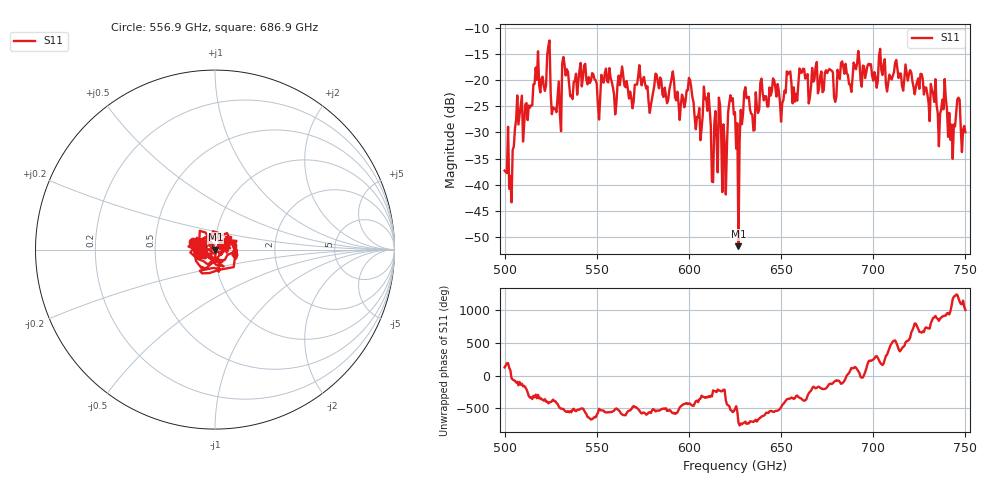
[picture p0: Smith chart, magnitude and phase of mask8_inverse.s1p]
!Created with skrf (http://scikit-rf.org).
# GHz S MA R 50.0
!freq magS11 angS11
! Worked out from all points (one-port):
!   401 points, 500 GHz to 750 GHz, reference 50 ohm
!   lowest |S11| = -51.7 dB at 626.9 GHz (marker M1), VSWR 1.01, Z = 50.3 + j0.0302 ohm
!   |S11| at or under -10 dB: start of sweep to end of sweep
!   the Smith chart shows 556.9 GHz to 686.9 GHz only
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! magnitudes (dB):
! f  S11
! 500 GHz  -37.3
! 503.8 GHz  -43.4
! 508.1 GHz  -26.6
! 511.2 GHz  -24.7
! 516.9 GHz  -17.6
! 523.8 GHz  -13.5
! 526.9 GHz  -25.4
! 531.2 GHz  -16.9
! 532.5 GHz  -17.0
! 550.6 GHz  -24.9
! 562.5 GHz  -21.0
! 593.8 GHz  -22.2
! 600 GHz  -19.6
! 605.6 GHz  -25.3
! 609.4 GHz  -23.4
! 612.5 GHz  -39.4
! 615.6 GHz  -37.6
! 619.4 GHz  -32.0
! 622.5 GHz  -22.9
! 625 GHz  -26.1
! 626.9 GHz  -51.7
! 631.2 GHz  -23.5
! 634.4 GHz  -26.6
! 640 GHz  -22.5
! 656.2 GHz  -24.5
! 687.5 GHz  -20.9
! 718.8 GHz  -20.1
! 750 GHz  -30.0
